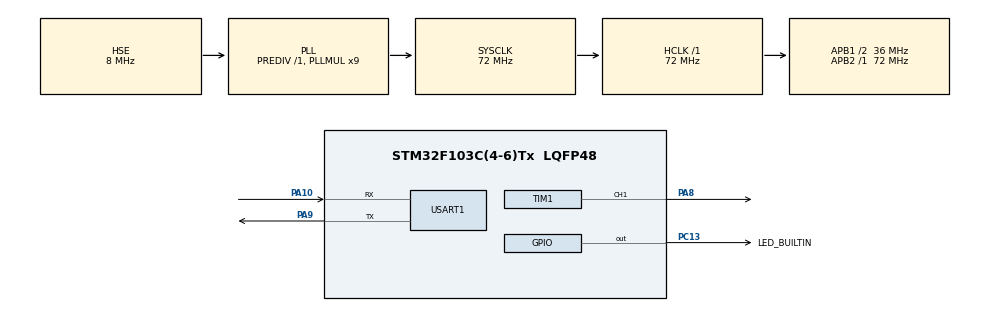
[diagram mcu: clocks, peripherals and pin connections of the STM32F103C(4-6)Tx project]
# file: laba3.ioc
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Mcu.Family=STM32F1
Mcu.Name=STM32F103C(4-6)Tx
Mcu.Package=LQFP48
NVIC.PriorityGroup=NVIC_PRIORITYGROUP_4
NVIC.TIM1_CC_IRQn=true\:0\:0\:false\:false\:true\:true\:true\:true
NVIC.TIM1_UP_IRQn=true\:0\:0\:false\:false\:true\:true\:true\:true
NVIC.USART1_IRQn=true\:0\:0\:false\:false\:true\:true\:true\:true
PA10.Mode=Asynchronous
PA10.Signal=USART1_RX
PA13.Mode=Trace_Asynchronous_SW
PA13.Signal=SYS_JTMS-SWDIO
PA14.Mode=Trace_Asynchronous_SW
PA14.Signal=SYS_JTCK-SWCLK
PA8.Signal=S_TIM1_CH1
PA9.Mode=Asynchronous
PA9.Signal=USART1_TX
PB3.Mode=Trace_Asynchronous_SW
PB3.Signal=SYS_JTDO-TRACESWO
PC13-TAMPER-RTC.GPIO_Label=LED_BUILTIN
PC13-TAMPER-RTC.PinState=GPIO_PIN_SET
PC13-TAMPER-RTC.Signal=GPIO_Output
PC14-OSC32_IN.Mode=LSE-External-Oscillator
PC14-OSC32_IN.Signal=RCC_OSC32_IN
PC15-OSC32_OUT.Mode=LSE-External-Oscillator
PC15-OSC32_OUT.Signal=RCC_OSC32_OUT
PD0-OSC_IN.Mode=HSE-External-Oscillator
PD0-OSC_IN.Signal=RCC_OSC_IN
PD1-OSC_OUT.Mode=HSE-External-Oscillator
PD1-OSC_OUT.Signal=RCC_OSC_OUT
ProjectManager.HeapSize=0x200
ProjectManager.StackSize=0x400
ProjectManager.TargetToolchain=STM32CubeIDE
RCC.AHBFreq_Value=72000000
RCC.APB1CLKDivider=RCC_HCLK_DIV2
RCC.APB1Freq_Value=36000000
RCC.APB1TimFreq_Value=72000000
RCC.APB2Freq_Value=72000000
RCC.APB2TimFreq_Value=72000000
RCC.HCLKFreq_Value=72000000
RCC.PLLMUL=RCC_PLL_MUL9
RCC.PLLSourceVirtual=RCC_PLLSOURCE_HSE
RCC.RCC_MCOSource=RCC_MCO1SOURCE_PLLCLK
RCC.SYSCLKFreq_VALUE=72000000
RCC.SYSCLKSource=RCC_SYSCLKSOURCE_PLLCLK
RCC.USBFreq_Value=72000000
SH.S_TIM1_CH1.0=TIM1_CH1,PWM Generation1 CH1
TIM1.Channel-PWM\ Generation1\ CH1=TIM_CHANNEL_1
TIM1.Period=10000
TIM1.Prescaler=7200
TIM1.Pulse-PWM\ Generation1\ CH1=25000
USART1.VirtualMode=VM_ASYNC
VP_TIM1_VS_ClockSourceINT.Mode=Internal
board=custom

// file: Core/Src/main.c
/* USER CODE BEGIN Header */
/**
  ******************************************************************************
  * @file           : main.c
  * @brief          : Main program body
  ******************************************************************************
  * @attention
  *
  * Copyright (c) 2024 STMicroelectronics.
  * All rights reserved.
  *
  * This software is licensed under terms that can be found in the LICENSE file
  * in the root directory of this software component.
  * If no LICENSE file comes with this software, it is provided AS-IS.
  *
  ******************************************************************************
  */
/* USER CODE END Header */
#include "main.h"
#include "tim.h"
#include "usart.h"
#include "gpio.h"

/* USER CODE BEGIN Includes */
#include <string.h>
#include <stdlib.h>
/* USER CODE END Includes */

/* USER CODE BEGIN PM */
/*#define BUFFER_SIZE 16
volatile uint8_t uart_rx_buffer[BUFFER_SIZE];
volatile uint8_t uart_rx_index = 0;
volatile uint8_t uart_rx_ready = 0;
/* USER CODE END PM */

/* USER CODE BEGIN PV */
volatile char uart_rx_buffer[5] = {0}; // Буфер для 4 символов + нуль-терминатор
volatile uint8_t uart_rx_index = 0;
volatile uint8_t uart_rx_ready = 0;

// В секции USER CODE BEGIN 4 (прерывание)

/* USER CODE END PV */

void SystemClock_Config(void);
/* USER CODE BEGIN PFP */
#define FLASH_PAGE_SIZE         (0x400)     // 1024 байта
// Базовый адрес Flash (0x08000000)
#define FLASH_BASE_ADDR         (0x08000000UL)
// Адрес последней страницы (например, Page 30)
#define FLASH_USER_START_ADDR   (FLASH_BASE_ADDR + (31 * FLASH_PAGE_SIZE))

void Flash_Write_HalfWord(uint32_t address, uint16_t data) {
    HAL_StatusTypeDef status;
    uint32_t pageError = 0;
    FLASH_EraseInitTypeDef eraseInitStruct;

    // Разблокировка Flash
    HAL_FLASH_Unlock();

    // Настройка структуры для стирания страницы
    eraseInitStruct.TypeErase = FLASH_TYPEERASE_PAGES;
    eraseInitStruct.PageAddress = FLASH_USER_START_ADDR;
    eraseInitStruct.NbPages = 1;  // Стираем только одну страницу

    // Стирание страницы
    status = HAL_FLASHEx_Erase(&eraseInitStruct, &pageError);
    if (status != HAL_OK) {
        HAL_FLASH_Lock();  // Блокировка Flash в случае ошибки
        return;
    }

    // Запись 16-битного слова (полуслова)
    status = HAL_FLASH_Program(FLASH_TYPEPROGRAM_HALFWORD, address, data);
    if (status != HAL_OK) {
        // Обработка ошибки записи (например, вывод в UART)
    }

    // Блокировка Flash
    HAL_FLASH_Lock();
}

void Read_From_Flash(uint32_t address, uint16_t* data) {
        *data = *(__IO uint16_t*)address;
    }

void UART_Receive_Callback(uint8_t received_char) {
	if(received_char == '\r' || received_char == '\n') {
		uart_rx_buffer[uart_rx_index] = '\0';
		uart_rx_ready = 1;
		uart_rx_index = 0;
	} else if(uart_rx_index < 5-1) {
		uart_rx_buffer[uart_rx_index++] = received_char;
	}
}

/* USER CODE END PFP */

int main(void)
{

  /* MCU Configuration--------------------------------------------------------*/

  /* Reset of all peripherals, Initializes the Flash interface and the Systick. */
  HAL_Init();

  /* Configure the system clock */
  SystemClock_Config();

  /* Initialize all configured peripherals */
  MX_GPIO_Init();
  MX_TIM1_Init();
  MX_USART1_UART_Init();
  /* USER CODE BEGIN 2 */
  HAL_UART_Receive_IT(&huart1, (uint8_t*)&uart_rx_buffer, 1);
  uint32_t address = FLASH_USER_START_ADDR; // Адрес страницы 30
  uint32_t data = 0xACAB; // Данные для записи (16 бит)

  Flash_Write_HalfWord(address, data);

  uint16_t flash_data;
  uint16_t user_value;
  char message[50];

  Read_From_Flash(FLASH_USER_START_ADDR, &flash_data); // чтение данных ячейки

  const char* prompt = "Enter the val from Flash (hex, 4 symbols):\r\n";
  HAL_UART_Transmit(&huart1, (uint8_t*)prompt, strlen(prompt), HAL_MAX_DELAY); // отправка приглащения

  // прием данных
  /*while(!uart_rx_ready) {
         uint8_t byte;
         if(HAL_UART_Receive(&huart1, &byte, 1, 100) == HAL_OK) {
             UART_Receive_Callback(byte);
             HAL_UART_Transmit(&huart1, &byte, 1, 100); // Эхо-вывод
         }
  }
*/
   HAL_UART_Receive_IT(&huart1, uart_rx_buffer, 1);

   uint16_t flash_value;
   Read_From_Flash(FLASH_USER_START_ADDR, &flash_value);

   while (1) {
          if (uart_rx_ready) {
              uart_rx_buffer[5] = '\0'; // Null-terminate the string
              user_value = (uint16_t)strtoul((char*)uart_rx_buffer, NULL, 16);

              if (user_value == flash_data) {
                  HAL_UART_Transmit(&huart1, (uint8_t*)"\r\nGood pass!\r\n", 15, HAL_MAX_DELAY);
              } else {
                  HAL_UART_Transmit(&huart1, (uint8_t*)"\r\nBadPass!\r\n", 14, HAL_MAX_DELAY);
              }

              memset(uart_rx_buffer, 0, 5);
              uart_rx_index = 0;
              uart_rx_ready = 0;
              HAL_UART_Transmit(&huart1, (uint8_t*)prompt, strlen(prompt), HAL_MAX_DELAY);
              HAL_UART_Receive_IT(&huart1, uart_rx_buffer, 1); // Restart прием
          }
      }
  }
/* USER CODE END 2 */

  /* Infinite loop */
  /* USER CODE BEGIN WHILE */
  /*

    /* USER CODE END WHILE */

void SystemClock_Config(void)
{
  RCC_OscInitTypeDef RCC_OscInitStruct = {0};
  RCC_ClkInitTypeDef RCC_ClkInitStruct = {0};

  /** Initializes the RCC Oscillators according to the specified parameters
  * in the RCC_OscInitTypeDef structure.
  */
  RCC_OscInitStruct.OscillatorType = RCC_OSCILLATORTYPE_HSE;
  RCC_OscInitStruct.HSEState = RCC_HSE_ON;
  RCC_OscInitStruct.HSEPredivValue = RCC_HSE_PREDIV_DIV1;
  RCC_OscInitStruct.HSIState = RCC_HSI_ON;
  RCC_OscInitStruct.PLL.PLLState = RCC_PLL_ON;
  RCC_OscInitStruct.PLL.PLLSource = RCC_PLLSOURCE_HSE;
  RCC_OscInitStruct.PLL.PLLMUL = RCC_PLL_MUL9;
  if (HAL_RCC_OscConfig(&RCC_OscInitStruct) != HAL_OK)
  {
    Error_Handler();
  }

  /** Initializes the CPU, AHB and APB buses clocks
  */
  RCC_ClkInitStruct.ClockType = RCC_CLOCKTYPE_HCLK|RCC_CLOCKTYPE_SYSCLK
                              |RCC_CLOCKTYPE_PCLK1|RCC_CLOCKTYPE_PCLK2;
  RCC_ClkInitStruct.SYSCLKSource = RCC_SYSCLKSOURCE_PLLCLK;
  RCC_ClkInitStruct.AHBCLKDivider = RCC_SYSCLK_DIV1;
  RCC_ClkInitStruct.APB1CLKDivider = RCC_HCLK_DIV2;
  RCC_ClkInitStruct.APB2CLKDivider = RCC_HCLK_DIV1;

  if (HAL_RCC_ClockConfig(&RCC_ClkInitStruct, FLASH_LATENCY_2) != HAL_OK)
  {
    Error_Handler();
  }
}

/* USER CODE BEGIN 4 */

void HAL_UART_RxCpltCallback(UART_HandleTypeDef *huart) {
    if(huart->Instance == USART1) {
        if(uart_rx_index < 4 && !uart_rx_ready) {
            char received = uart_rx_buffer[uart_rx_index];

            if(received >= '0' && received <= '9' ||
               received >= 'A' && received <= 'F' ||
               received >= 'a' && received <= 'f') {
                uart_rx_buffer[uart_rx_index++] = received;
                HAL_UART_Transmit(&huart1, (uint8_t*)&received, 1, 10); // Эхо
            }

            if(uart_rx_index == 4) {
                uart_rx_buffer[4] = '\0';
                uart_rx_ready = 1;
            }
        }
        HAL_UART_Receive_IT(&huart1, (uint8_t*)&uart_rx_buffer[uart_rx_index], 1);
    }
}

/*void HAL_UART_RxCpltCallback(UART_HandleTypeDef *huart) {
    if(huart->Instance == USART1) {
        UART_Receive_Callback(uart_rx_buffer[0]);
    }
}
/* USER CODE END 4 */

void Error_Handler(void)
{
  __disable_irq();
  while (1)
  {
  }
}
